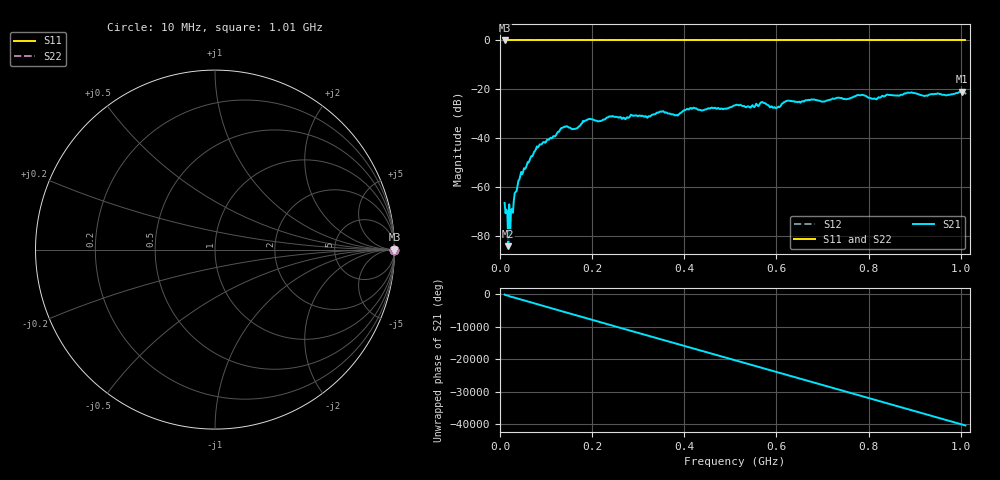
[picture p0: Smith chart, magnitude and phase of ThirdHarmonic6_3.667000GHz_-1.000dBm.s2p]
! 8/17/2025 12:23:10 PM
! C:\ANRITSUVNA\TEMP\TEMP.S2P
! CHANNEL.1
! TR.MEASUREMENT
! RAW.DATA
! RF.CORRECTION.OFF
! AVERAGING.OFF
! IF.BANDWIDTH: 5KHZ
! SWEEPTYPE:  FREQ.SWEEP(Linear)
! Reference Plane Port Info
! PORT:  PORT1  PORT2
! DISTANCE:  0  m  0  m
! TIME:  0  s  0  s
! PHASE.OFFSET:  0  deg.  0  deg.
! LOSS:  0  dB  0  dB
! REF.LOSS:  0  dB  0  dB
! REF.FREQ:  0  Hz  0  Hz
! Power Info
! POWER:  -20  dBm  -20  dBm
! EFF.POWER:  -20  dBm  -20  dBm
! SOURCE.ATTEN:  0  dB  0  dB
! TEST.ATTEN:  0  dB  0  dB
# GHZ S RI R 50.0
! FREQ.GHZ  S11RE  S11IM  S21RE  S21IM  S12RE  S12IM  S22RE  S22IM
!; PortSelection: Port_12
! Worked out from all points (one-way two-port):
!   501 points, 10 MHz to 1.01 GHz, reference 50 ohm
!   highest |S21| = -20.89 dB at 1.002 GHz (marker M1); lowest = -83.9 dB at 18 MHz (marker M2)
!   lowest |S11| = 0.0 dB at 10 MHz (marker M3)
!   |S11| at or under -10 dB: nowhere
!   |S22| runs from 0.0 to 0.0 dB; largest |S21 - S12| = 1.1
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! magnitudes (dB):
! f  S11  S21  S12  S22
! 10 MHz  0.0  -66.3  0.0  0.0
! 18 MHz  0.0  -83.9  0.0  0.0
! 26 MHz  0.0  -68.7  0.0  0.0
! 28 MHz  0.0  -70.3  0.0  0.0
! 42 MHz  0.0  -56.8  0.0  0.0
! 78 MHz  0.0  -44.4  0.0  0.0
! 136 MHz  0.0  -35.6  0.0  0.0
! 162 MHz  0.0  -36.1  0.0  0.0
! 178 MHz  0.0  -33.8  0.0  0.0
! 344 MHz  0.0  -29.4  0.0  0.0
! 382 MHz  0.0  -30.5  0.0  0.0
! 416 MHz  0.0  -27.9  0.0  0.0
! 510 MHz  0.0  -26.5  0.0  0.0
! 570 MHz  0.0  -25.1  0.0  0.0
! 596 MHz  0.0  -27.2  0.0  0.0
! 624 MHz  0.0  -24.6  0.0  0.0
! 678 MHz  0.0  -24.1  0.0  0.0
! 784 MHz  0.0  -22.3  0.0  0.0
! 814 MHz  0.0  -23.7  0.0  0.0
! 844 MHz  0.0  -22.3  0.0  0.0
! 1.002 GHz  0.0  -20.9  0.0  0.0
! 1.01 GHz  0.0  -21.6  0.0  0.0
